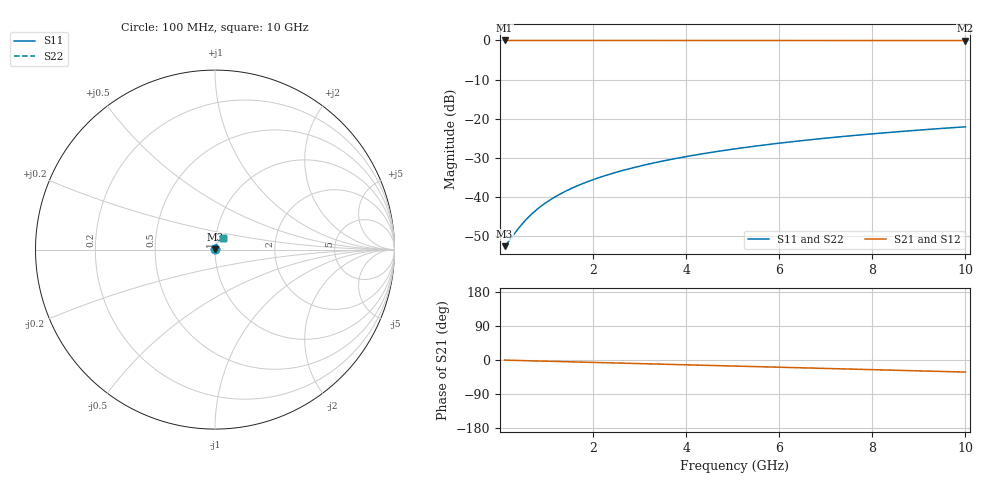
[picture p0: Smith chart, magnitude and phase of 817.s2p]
# Hz S RI R 50.00
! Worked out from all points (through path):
!   100 points, 100 MHz to 10 GHz, reference 50 ohm
!   highest |S21| = -0.02 dB at 100 MHz (marker M1); lowest = -0.1 dB at 10 GHz (marker M2)
!   group delay of S21, straight-line fit = 8.85 ps
!   lowest |S11| = -52.6 dB at 100 MHz (marker M3), VSWR 1.00, Z = 50.2 + j0.0818 ohm
!   |S11| at or under -10 dB: start of sweep to end of sweep
!   |S22| runs from -52.6 to -22.1 dB; largest |S21 - S12| = 0
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1e8  0.00221 0.000814  0.9978 -0.00552  0.9978 -0.00552  0.00221 0.000814
2e8  0.00224 0.00163  0.9977 -0.011  0.9977 -0.011  0.00224 0.00163
4e8  0.00231 0.00325  0.9975 -0.0221  0.9975 -0.0221  0.00231 0.00325
5e8  0.00235 0.00407  0.9973 -0.0276  0.9973 -0.0276  0.00235 0.00407
6e8  0.00241 0.00488  0.9972 -0.0331  0.9972 -0.0331  0.00241 0.00488
7e8  0.00247 0.00569  0.997 -0.0386  0.997 -0.0386  0.00247 0.00569
8e8  0.00254 0.0065  0.9967 -0.0441  0.9967 -0.0441  0.00254 0.0065
1e9  0.00271 0.00812  0.9961 -0.0551  0.9961 -0.0551  0.00271 0.00812
1.2e9  0.00291 0.00973  0.9954 -0.0661  0.9954 -0.0661  0.00291 0.00973
1.5e9  0.00328 0.0121  0.9942 -0.0827  0.9942 -0.0827  0.00328 0.0121
1.8e9  0.00373 0.0145  0.9926 -0.0991  0.9926 -0.0991  0.00373 0.0145
2.1e9  0.00426 0.0169  0.9908 -0.1156  0.9908 -0.1156  0.00426 0.0169
2.5e9  0.00508 0.0201  0.9879 -0.1375  0.9879 -0.1375  0.00508 0.0201
2.9e9  0.00605 0.0232  0.9845 -0.1594  0.9845 -0.1594  0.00605 0.0232
3.4e9  0.00744 0.027  0.9796 -0.1866  0.9796 -0.1866  0.00744 0.027
4.2e9  0.0101 0.0329  0.9701 -0.2298  0.9701 -0.2298  0.0101 0.0329
5.1e9  0.0137 0.0392  0.9571 -0.278  0.9571 -0.278  0.0137 0.0392
5.9e9  0.0175 0.0446  0.9435 -0.3202  0.9435 -0.3202  0.0175 0.0446
6.7e9  0.0217 0.0495  0.9279 -0.3618  0.9279 -0.3618  0.0217 0.0495
7.5e9  0.0264 0.0541  0.9105 -0.4027  0.9105 -0.4027  0.0264 0.0541
8.4e9  0.0321 0.0588  0.8887 -0.4477  0.8887 -0.4477  0.0321 0.0588
1e10  0.0434 0.0657  0.8443 -0.525  0.8443 -0.525  0.0434 0.0657
